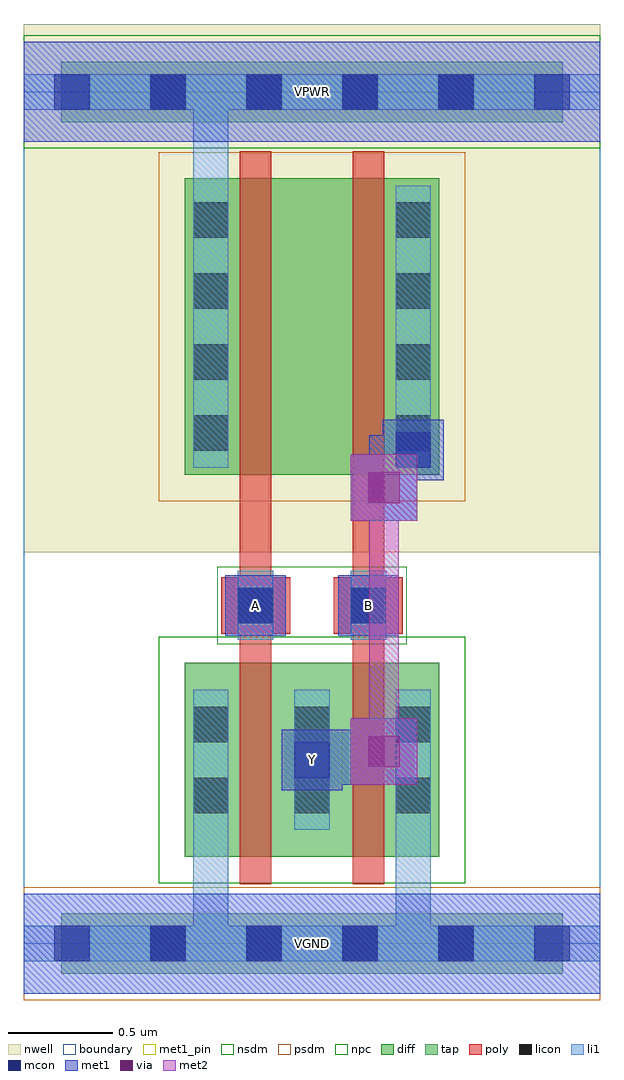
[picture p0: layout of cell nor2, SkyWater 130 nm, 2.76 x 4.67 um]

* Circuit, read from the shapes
.subckt nor2 A B VGND VPWR Y
XM1 Y A VGND VGND sky130_fd_pr__nfet_01v8 w=0.93 l=0.15
XM2 VGND B Y VGND sky130_fd_pr__nfet_01v8 w=0.93 l=0.15
XM3 n1 A VPWR VPWR sky130_fd_pr__pfet_01v8 w=1.42 l=0.15
XM4 Y B n1 VPWR sky130_fd_pr__pfet_01v8 w=1.42 l=0.15
.ends

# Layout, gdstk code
import gdstk
lib = gdstk.Library(unit=1e-6, precision=1e-09)
def R(c, l, rs):  # rectangles x0, y0, x1, y1
    for r in rs: c.add(gdstk.rectangle(r[:2], r[2:], *l))
def A(c, l, x, y, w, h, nx, ny, dx, dy):  # array of equal rectangles
    R(c, l, [(x+i*dx, y+j*dy, x+i*dx+w, y+j*dy+h) for i in range(nx) for j in range(ny)])
nwell = (64, 20)
diff = (65, 20)
tap = (65, 44)
poly = (66, 20)
licon = (66, 44)
li1 = (67, 20)
mcon = (67, 44)
met1_pin = (68, 16)
met1 = (68, 20)
via = (68, 44)
met2 = (69, 20)
nsdm = (93, 44)
psdm = (94, 20)
npc = (95, 20)
boundary = (235, 4)

nor2 = lib.new_cell('nor2')
R(nor2, nwell, [(0,1.875,2.76,4.405)])
R(nor2, diff, [(0.77,0.415,1.99,1.345), (0.77,2.245,1.99,3.665)])
R(nor2, tap, [(0.18,-0.145,2.58,0.145), (0.18,3.935,2.58,4.225)])
R(nor2, poly, [(1.035,0.285,1.185,3.795), (1.575,0.285,1.725,3.795), (0.945,1.485,1.275,1.755), (1.485,1.485,1.815,1.755)])
A(nor2, licon, 0.605, -0.085, 0.17, 0.17, 4, 2, 0.46, 4.08)
A(nor2, licon, 0.81, 0.625, 0.17, 0.17, 3, 2, 0.485, 0.34)
A(nor2, licon, 0.81, 2.36, 0.17, 0.17, 1, 4, 0, 0.34)
A(nor2, licon, 1.78, 2.36, 0.17, 0.17, 1, 4, 0, 0.34)
R(nor2, licon, [(1.025,1.535,1.195,1.705), (1.565,1.535,1.735,1.705)])
A(nor2, li1, 0.81, 0.545, 0.17, 0.67, 3, 1, 0.485, 0)
R(nor2, li1, [(0,-0.085,2.76,0.085), (0.81,-0.085,0.98,1.215), (1.78,-0.085,1.95,1.215), (1.025,1.455,1.195,1.785), (1.565,1.455,1.735,1.785), (0.81,2.28,0.98,3.63), (0.81,2.28,0.98,4.165), (1.78,2.28,1.95,3.63), (0,3.995,2.76,4.165)])
A(nor2, mcon, 0.145, -0.085, 0.17, 0.17, 6, 2, 0.46, 4.08)
R(nor2, mcon, [(1.295,0.795,1.465,0.965), (1.025,1.535,1.195,1.705), (1.565,1.535,1.735,1.705), (1.78,2.28,1.95,2.45)])
R(nor2, met1_pin, [(0,-0.24,2.76,0.24), (1.235,0.735,1.525,1.025), (0.965,1.475,1.255,1.765), (1.505,1.475,1.795,1.765), (0,3.84,2.76,4.32)])
R(nor2, met1, [(0,-0.24,2.76,0.24), (1.235,0.735,1.525,1.025), (1.525,0.76,1.565,1.025), (1.565,0.76,1.885,1.08), (1.31,0.85,1.45,0.99), (1.31,0.85,1.795,0.99), (0.965,1.475,1.255,1.765), (1.505,1.475,1.795,1.765), (1.565,2.025,1.885,2.345), (1.655,2.115,1.795,2.435), (1.72,2.22,2.01,2.51), (1.655,2.295,1.935,2.435), (0,3.84,2.76,4.32)])
R(nor2, via, [(1.65,0.845,1.8,0.995), (1.65,2.11,1.8,2.26)])
R(nor2, met2, [(1.565,0.76,1.885,1.08), (1.655,0.85,1.795,2.255), (1.565,2.025,1.885,2.345)])
R(nor2, nsdm, [(0.645,0.29,2.115,1.47), (0,3.81,2.76,4.35)])
R(nor2, psdm, [(0,-0.27,2.76,0.27), (0.645,2.12,2.115,3.79)])
R(nor2, npc, [(0.925,1.435,1.835,1.805)])
R(nor2, boundary, [(0,0,2.76,4.08)])
nor2.add(gdstk.Label('A', (1.11,1.62), layer=68, texttype=5))
nor2.add(gdstk.Label('B', (1.65,1.62), layer=68, texttype=5))
nor2.add(gdstk.Label('Y', (1.38,0.88), layer=68, texttype=5))
nor2.add(gdstk.Label('VPWR', (1.38,4.08), layer=68, texttype=5))
nor2.add(gdstk.Label('VGND', (1.38,0), layer=68, texttype=5))
nor2.add(gdstk.Label('A', (1.11,1.62), layer=68, texttype=16))
nor2.add(gdstk.Label('B', (1.65,1.62), layer=68, texttype=16))
nor2.add(gdstk.Label('Y', (1.38,0.88), layer=68, texttype=16))
nor2.add(gdstk.Label('VPWR', (1.38,4.08), layer=68, texttype=16))
nor2.add(gdstk.Label('VGND', (1.38,0), layer=68, texttype=16))

lib.write_gds('nor2.gds')
